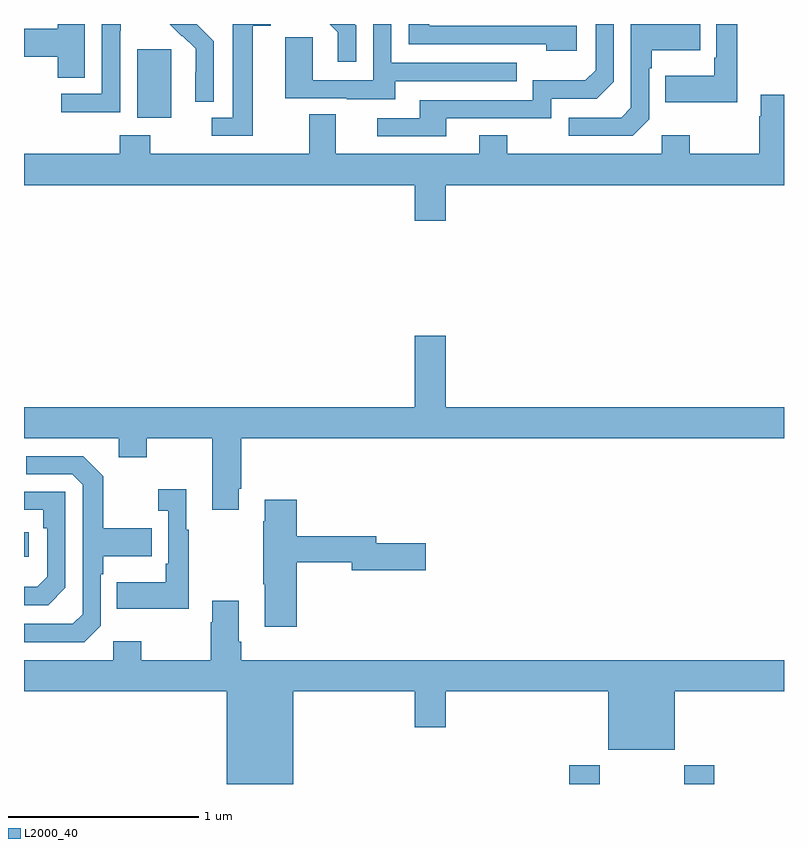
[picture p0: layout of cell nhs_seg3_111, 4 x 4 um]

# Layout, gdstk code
import gdstk
lib = gdstk.Library(unit=1e-6, precision=1e-09)
def R(c, l, rs):  # rectangles x0, y0, x1, y1
    for r in rs: c.add(gdstk.rectangle(r[:2], r[2:], *l))
def P(c, l, *ps):  # polygons
    for p in ps: c.add(gdstk.Polygon(p, *l))
L2000_40 = (2000, 40)

nhs_seg3_111 = lib.new_cell('nhs_seg3_111')
R(nhs_seg3_111, L2000_40, [(117.869,728.4,118.029,728.5), (118.474,728.4,118.634,728.5), (115,729.596,115.024,729.726), (115.595,731.906,115.774,732.267)])
P(nhs_seg3_111, L2000_40, [(117.91,732.39),(117.133,732.39),(117.133,732.4),(117.024,732.4),(117.024,732.294),(117.749,732.294),(117.749,732.26),(117.91,732.26)],
  [(115.998,732.31),(115.925,732.383),(115.926,732.384),(115.91,732.4),(115.766,732.4),(115.83,732.336),(115.833,732.339),(115.904,732.269),(115.904,732.146),(115.902,732.146),(115.902,731.992),(115.998,731.992)],
  [(115.506,732.364),(115.509,732.364),(115.509,732.4),(115.41,732.4),(115.41,732.033),(115.197,732.033),(115.197,731.935),(115.506,731.935)],
  [(118.29,731.898),(118.29,732.167),(118.303,732.167),(118.303,732.263),(118.559,732.263),(118.559,732.4),(118.194,732.4),(118.194,731.958),(118.143,731.907),(117.867,731.907),(117.867,731.811),(118.203,731.811)],
  [(116.953,732.099),(117.593,732.099),(117.593,732.195),(116.934,732.195),(116.934,732.4),(116.838,732.4),(116.838,732.105),(116.52,732.105),(116.52,732.329),(116.375,732.329),(116.375,732.009),(116.699,732.009),(116.699,732.005),(116.953,732.005)],
  [(118.753,732.4),(118.644,732.4),(118.644,732.223),(118.632,732.223),(118.632,732.127),(118.375,732.127),(118.375,731.987),(118.753,731.987)],
  [(117.223,731.904),(117.774,731.904),(117.774,732.006),(118.014,732.006),(118.104,732.096),(118.104,732.4),(118.008,732.4),(118.008,732.156),(117.955,732.103),(117.678,732.103),(117.678,732),(117.083,732),(117.083,731.904),(116.859,731.904),(116.859,731.808),(117.223,731.808)],
  [(116.748,732.394),(116.742,732.4),(116.608,732.4),(116.651,732.357),(116.651,732.201),(116.748,732.201)],
  [(116.203,732.392),(116.299,732.392),(116.299,732.4),(116.099,732.4),(116.099,731.907),(115.989,731.907),(115.989,731.811),(116.203,731.811)],
  [(115.321,732.4),(115.178,732.4),(115.178,732.374),(115,732.374),(115,732.227),(115.178,732.227),(115.178,732.118),(115.321,732.118)],
  [(117.22,731.552),(119,731.552),(119,732.028),(118.877,732.028),(118.877,731.915),(118.87,731.915),(118.87,731.716),(118.503,731.716),(118.503,731.815),(118.356,731.815),(118.356,731.716),(117.543,731.716),(117.543,731.815),(117.395,731.815),(117.395,731.716),(116.641,731.716),(116.641,731.924),(116.501,731.924),(116.501,731.716),(115.665,731.716),(115.665,731.815),(115.505,731.815),(115.505,731.716),(115,731.716),(115,731.552),(117.056,731.552),(117.056,731.364),(117.22,731.364)],
  [(116.131,729.955),(116.144,729.955),(116.144,730.22),(119,730.22),(119,730.384),(117.22,730.384),(117.22,730.759),(117.056,730.759),(117.056,730.384),(115,730.384),(115,730.22),(115.499,730.22),(115.499,730.121),(115.647,730.121),(115.647,730.22),(115.991,730.22),(115.991,729.843),(116.131,729.843)],
  [(115.404,729.234),(115.404,729.503),(115.417,729.503),(115.417,729.599),(115.673,729.599),(115.673,729.747),(115.417,729.747),(115.417,730.019),(115.311,730.125),(115.011,730.125),(115.011,730.029),(115.254,730.029),(115.308,729.975),(115.308,729.294),(115.257,729.243),(115,729.243),(115,729.147),(115.317,729.147)],
  [(115.867,729.739),(115.855,729.739),(115.855,729.952),(115.707,729.952),(115.707,729.839),(115.758,729.839),(115.758,729.559),(115.746,729.559),(115.746,729.463),(115.489,729.463),(115.489,729.323),(115.867,729.323)],
  [(115.218,729.432),(115.218,729.939),(115,729.939),(115,729.843),(115.102,729.843),(115.102,729.746),(115.122,729.746),(115.122,729.492),(115.069,729.439),(115,729.439),(115,729.342),(115.128,729.342)],
  [(116.435,729.568),(116.726,729.568),(116.726,729.526),(117.115,729.526),(117.115,729.668),(116.854,729.668),(116.854,729.704),(116.435,729.704),(116.435,729.895),(116.267,729.895),(116.267,729.782),(116.26,729.782),(116.26,729.451),(116.267,729.451),(116.267,729.228),(116.435,729.228)],
  [(116.416,728.888),(117.056,728.888),(117.056,728.7),(117.22,728.7),(117.22,728.888),(118.076,728.888),(118.076,728.579),(118.426,728.579),(118.426,728.888),(119,728.888),(119,729.052),(116.144,729.052),(116.144,729.148),(116.131,729.148),(116.131,729.364),(115.991,729.364),(115.991,729.251),(115.984,729.251),(115.984,729.052),(115.617,729.052),(115.617,729.151),(115.47,729.151),(115.47,729.052),(115,729.052),(115,728.888),(116.066,728.888),(116.066,728.4),(116.416,728.4)])

lib.write_gds('nhs_seg3_111.gds')
